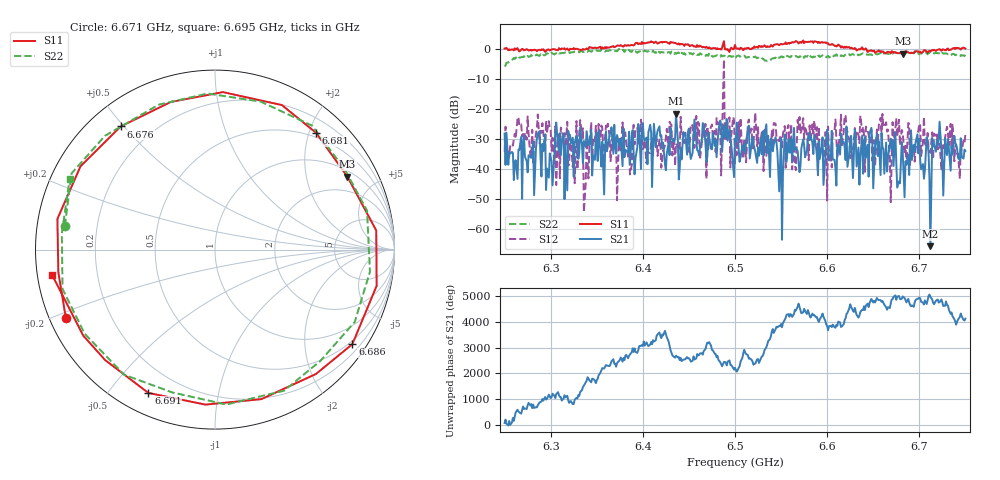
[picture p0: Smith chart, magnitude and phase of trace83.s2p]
# Hz S RI R 50
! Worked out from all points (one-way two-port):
!   401 points, 6.25 GHz to 6.75 GHz, reference 50 ohm
!   highest |S21| = -21.50 dB at 6.436 GHz (marker M1); lowest = -65.9 dB at 6.712 GHz (marker M2)
!   lowest |S11| = -1.5 dB at 6.682 GHz (marker M3), VSWR 11.68, Z = 62 + j174 ohm
!   |S11| at or under -10 dB: nowhere
!   |S22| runs from -5.7 to 0.1 dB; largest |S21 - S12| = 0.62
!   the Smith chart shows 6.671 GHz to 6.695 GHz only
!   S11 on the Smith chart (normalised r, x): 6.671 GHz: 0.05, -0.22; 6.676 GHz: 0.09, +0.49; 6.681 GHz: 0.42, +2.12; 6.686 GHz: 0.41, -3.17; 6.691 GHz: 0.09, -0.63; 6.695 GHz: 0.04, -0.08
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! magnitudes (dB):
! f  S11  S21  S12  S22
! 6.25 GHz  0.3  -28.2  -34.3  -5.7
! 6.334 GHz  -0.2  -32.3  -28.6  -0.6
! 6.339 GHz  0.3  -27.4  -30.4  -0.7
! 6.361 GHz  0.7  -34.1  -26.7  -0.5
! 6.418 GHz  2.3  -25.8  -30.2  -0.9
! 6.436 GHz  2.0  -21.5  -31.5  -1.4
! 6.5 GHz  1.4  -29.9  -38.2  -2.7
! 6.541 GHz  0.9  -34.1  -31.4  -3.0
! 6.55 GHz  1.8  -29.8  -30.1  -2.4
! 6.584 GHz  2.6  -31.2  -25.1  -2.7
! 6.602 GHz  1.6  -37.2  -35.4  -2.7
! 6.66 GHz  -0.8  -32.6  -21.6  -1.8
! 6.668 GHz  -1.0  -31.6  -36.4  -1.5
! 6.671 GHz  -0.8  -30.6  -24.4  -1.4
! 6.676 GHz  -1.3  -46.3  -29.3  -1.2
! 6.681 GHz  -1.3  -31.0  -27.0  -1.2
! 6.682 GHz  -1.5  -34.5  -28.2  -1.2
! 6.686 GHz  -0.6  -38.6  -38.7  -1.2
! 6.691 GHz  -1.1  -27.1  -27.9  -1.3
! 6.695 GHz  -0.7  -34.1  -37.6  -0.9
! 6.712 GHz  -0.7  -65.9  -34.6  -1.4
! 6.75 GHz  0.2  -34.0  -28.5  -2.3
